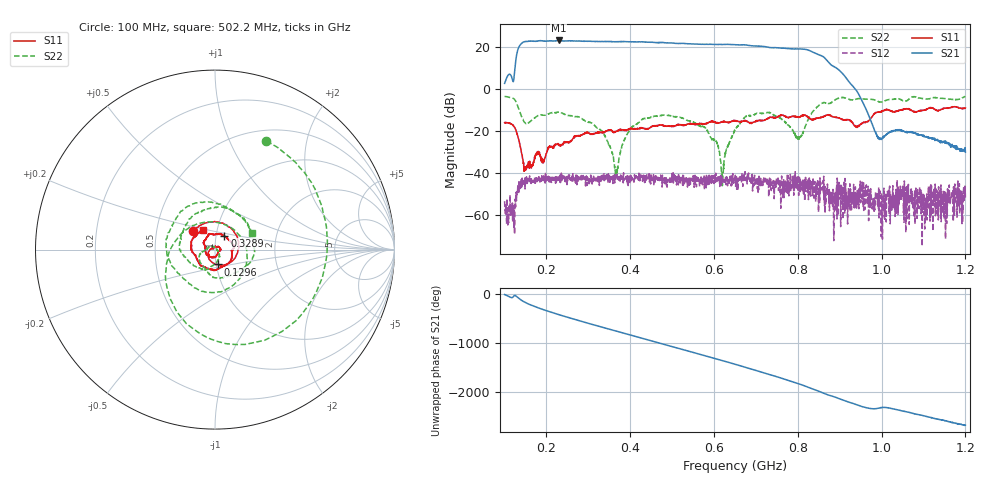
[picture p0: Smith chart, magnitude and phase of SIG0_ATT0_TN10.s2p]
# Hz S DB R 50
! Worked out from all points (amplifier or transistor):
!   1601 points, 100 MHz to 1.2 GHz, reference 50 ohm
!   highest |S21| = 23.2 dB at 229.2 MHz (marker M1)
!   |S21| within 3 dB of that: 134.4 MHz to 723.8 MHz (589.3 MHz wide, 137 % of centre)
!   unconditionally stable (mu >= 1): start of sweep to end of sweep
!   at 282.9 MHz: K = 4.79, MAG = 23.2 dB, |S12| = -42.9 dB
!   at 650 MHz: K = 5.10, MAG = 21.4 dB, |S12| = -41.7 dB
!   at 1.2 GHz: K = 2939.82, MAG = -26.9 dB, |S12| = -51.7 dB
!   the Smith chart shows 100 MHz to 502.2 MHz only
!   S11 on the Smith chart (normalised r, x): 100 MHz: 0.77, +0.16; 129.6 MHz: 1.02, -0.17; 328.9 MHz: 1.10, +0.17; 502.2 MHz: 0.86, +0.19
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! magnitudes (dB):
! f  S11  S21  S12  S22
! 100 MHz  -16.0  2.7  -53.5  -3.5
! 119.2 MHz  -17.2  4.1  -63.5  -4.4
! 129.6 MHz  -21.5  17.2  -50.6  -7.1
! 150.9 MHz  -37.4  22.8  -42.4  -16.5
! 229.2 MHz  -26.9  23.2  -42.7  -10.9
! 283.6 MHz  -21.8  22.9  -41.3  -14.0
! 328.9 MHz  -20.6  22.7  -41.8  -19.6
! 366.8 MHz  -20.1  22.7  -41.0  -41.1
! 401.1 MHz  -18.7  22.6  -41.2  -18.9
! 467.1 MHz  -17.3  22.3  -42.5  -12.8
! 502.2 MHz  -17.7  22.0  -39.4  -13.0
! 579.9 MHz  -16.5  21.4  -43.5  -18.6
! 606 MHz  -16.0  21.4  -44.9  -25.1
! 619.8 MHz  -15.7  21.3  -42.0  -46.2
! 650 MHz  -15.2  21.2  -41.7  -19.4
! 729.8 MHz  -13.8  20.0  -44.0  -11.2
! 802.6 MHz  -13.6  19.2  -43.1  -23.1
! 833.6 MHz  -14.6  17.9  -44.1  -11.3
! 936.7 MHz  -17.4  0.2  -47.2  -5.0
! 992.4 MHz  -11.0  -23.1  -57.4  -6.0
! 1.017 GHz  -10.0  -21.1  -49.4  -5.0
! 1.2 GHz  -9.1  -30.1  -51.7  -3.4
